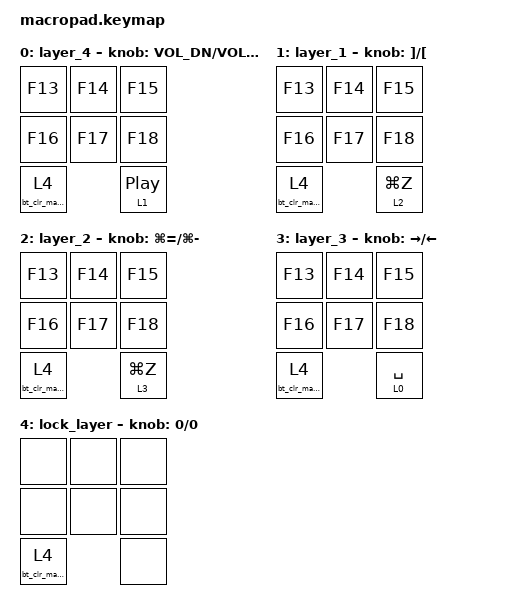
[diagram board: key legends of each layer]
#include <behaviors.dtsi>
#include <dt-bindings/zmk/keys.h>
#include <dt-bindings/zmk/bt.h>

/ {
    macros {
        // BT_CLR 호출을 위한 1인자 매크로
        bt_clr_macro: bt_clr_macro {
            compatible = "zmk,behavior-macro-one-param";
            #binding-cells = <1>;
            bindings = <&bt BT_CLR>;
        };
    };

    behaviors {
        // 노브 스위치: 1초(1000ms) 홀드 -> 다음 레이어로 순환 전환 / 살짝 탭 -> 키 입력
        ht_to: hold_tap_to {
            compatible = "zmk,behavior-hold-tap";
            label = "HT_TO";
            #binding-cells = <2>;
            flavor = "hold-preferred";
            tapping-term-ms = <1000>;
            bindings = <&to>, <&kp>;
        };

        // 7번 키 전용: 3초(3000ms) 홀드 -> BT 초기화 / 살짝 탭 -> 잠금 레이어 토글(&tog)
        ht_lock_bt: hold_tap_lock_bt {
            compatible = "zmk,behavior-hold-tap";
            label = "HT_LOCK_BT";
            #binding-cells = <2>;
            flavor = "hold-preferred";
            tapping-term-ms = <3000>;
            bindings = <&bt_clr_macro>, <&tog>;
        };
    };

    keymap {
        compatible = "zmk,keymap";

        // ==========================================
        // [기본 부팅 대기] 레이어 4 (LED 4 점등)
        // ==========================================
        layer_4 {
            sensor-bindings = <&inc_dec_kp C_VOL_DN C_VOL_UP>;
            bindings = <
                &kp F13    &kp F14    &kp F15
                &kp F16    &kp F17    &kp F18
                &ht_lock_bt 0 4       &ht_to 1 C_PP
            >;
        };

        // ==========================================
        // [레이어 1] (LED 1 점등) 
        // ==========================================
        layer_1 {
            sensor-bindings = <&inc_dec_kp RBKT LBKT>;
            bindings = <
                &kp F13    &kp F14    &kp F15
                &kp F16    &kp F17    &kp F18
                &ht_lock_bt 0 4       &ht_to 2 LG(Z)
            >;
        };

        // ==========================================
        // [레이어 2] (LED 2 점등) 
        // ==========================================
        layer_2 {
            sensor-bindings = <&inc_dec_kp LG(EQUAL) LG(MINUS)>;
            bindings = <
                &kp F13    &kp F14    &kp F15
                &kp F16    &kp F17    &kp F18
                &ht_lock_bt 0 4       &ht_to 3 LG(Z)
            >;
        };

        // ==========================================
        // [레이어 3] (LED 3 점등) 
        // ==========================================
        layer_3 {
            sensor-bindings = <&inc_dec_kp RIGHT LEFT>;
            bindings = <
                &kp F13    &kp F14    &kp F15
                &kp F16    &kp F17    &kp F18
                &ht_lock_bt 0 4       &ht_to 0 SPACE
            >;
        };

        // ==========================================
        // [잠금 레이어] 키 잠금 / 전원 Off 모드 (모든 LED 소등)
        // ==========================================
        lock_layer {
            sensor-bindings = <&inc_dec_kp 0 0>;
            bindings = <
                &none      &none      &none
                &none      &none      &none
                &ht_lock_bt 0 4       &none
            >;
        };
    };
};
